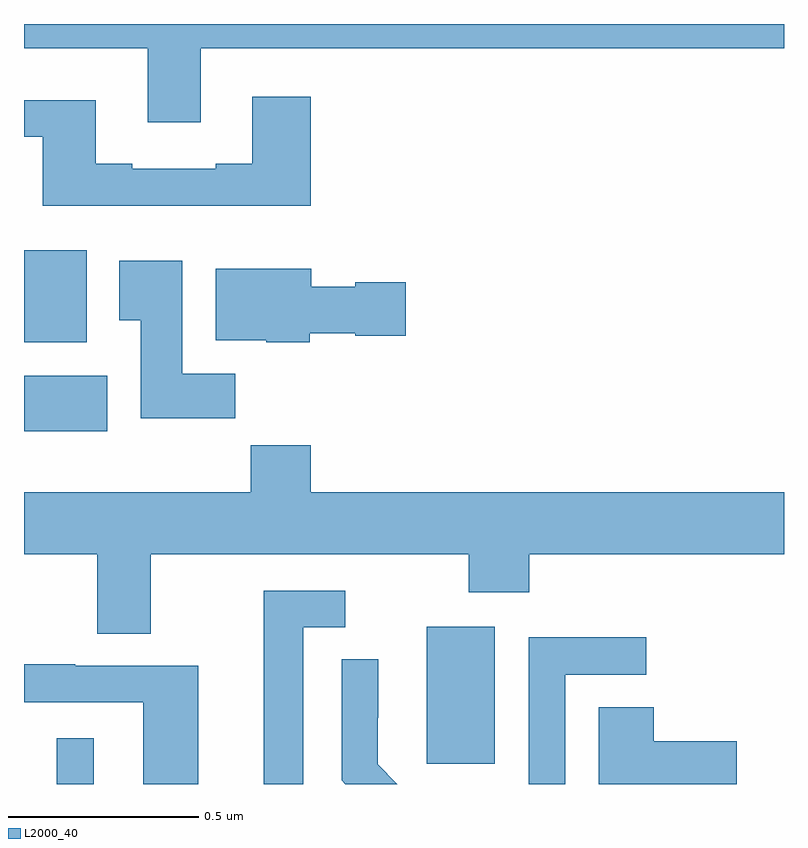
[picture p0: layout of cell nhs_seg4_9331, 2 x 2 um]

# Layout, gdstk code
import gdstk
lib = gdstk.Library(unit=1e-6, precision=1e-09)
def R(c, l, rs):  # rectangles x0, y0, x1, y1
    for r in rs: c.add(gdstk.rectangle(r[:2], r[2:], *l))
def P(c, l, *ps):  # polygons
    for p in ps: c.add(gdstk.Polygon(p, *l))
L2000_40 = (2000, 40)

nhs_seg4_9331 = lib.new_cell('nhs_seg4_9331')
R(nhs_seg4_9331, L2000_40, [(226.086,778.9,226.183,779.02), (227.06,778.953,227.239,779.314), (226,779.828,226.219,779.974), (226,780.062,226.165,780.304)])
P(nhs_seg4_9331, L2000_40, [(228,780.9),(226,780.9),(226,780.836),(226.325,780.836),(226.325,780.642),(226.465,780.642),(226.465,780.836),(228,780.836)],
  [(226.754,780.709),(226.601,780.709),(226.601,780.532),(226.505,780.532),(226.505,780.519),(226.285,780.519),(226.285,780.532),(226.189,780.532),(226.189,780.7),(226,780.7),(226,780.603),(226.049,780.603),(226.049,780.422),(226.754,780.422)],
  [(226.556,779.98),(226.417,779.98),(226.417,780.277),(226.25,780.277),(226.25,780.121),(226.307,780.121),(226.307,779.862),(226.556,779.862)],
  [(226.752,780.086),(226.872,780.086),(226.872,780.079),(227.005,780.079),(227.005,780.221),(226.872,780.221),(226.872,780.208),(226.756,780.208),(226.756,780.256),(226.505,780.256),(226.505,780.068),(226.638,780.068),(226.638,780.062),(226.752,780.062)],
  [(227.17,779.405),(227.33,779.405),(227.33,779.504),(228,779.504),(228,779.668),(226.754,779.668),(226.754,779.792),(226.597,779.792),(226.597,779.668),(226,779.668),(226,779.504),(226.193,779.504),(226.193,779.296),(226.333,779.296),(226.333,779.504),(227.17,779.504)],
  [(226.735,779.313),(226.846,779.313),(226.846,779.409),(226.631,779.409),(226.631,778.9),(226.735,778.9)],
  [(227.424,779.187),(227.638,779.187),(227.638,779.286),(227.328,779.286),(227.328,778.9),(227.424,778.9)],
  [(226.931,778.952),(226.931,779.074),(226.932,779.074),(226.932,779.228),(226.836,779.228),(226.836,778.91),(226.846,778.9),(226.982,778.9)],
  [(226.459,779.211),(226.135,779.211),(226.135,779.215),(226,779.215),(226,779.115),(226.314,779.115),(226.314,778.9),(226.459,778.9)],
  [(227.875,779.012),(227.657,779.012),(227.657,779.102),(227.513,779.102),(227.513,778.9),(227.875,778.9)])

lib.write_gds('nhs_seg4_9331.gds')
